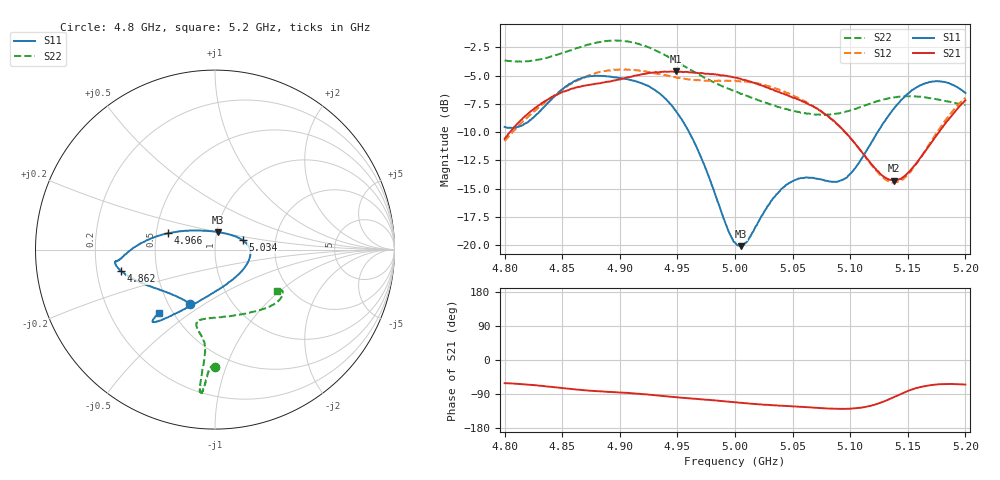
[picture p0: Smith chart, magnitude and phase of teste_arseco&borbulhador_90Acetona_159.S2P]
! Network Analyzer HP8722D
! Hewlett-Packard
! Data name: Linha & Wilkinson
! Saver's name: Rodrigo Anjos
! Comments: Teste da utilização de aquisição
! continua pelo VNA HP8722D
! Time and date: 17/4/2025 12:22
!  Frequency  S11  S21  S12  S22
# HZ  S  MA R 50
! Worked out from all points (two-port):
!   401 points, 4.8 GHz to 5.2 GHz, reference 50 ohm
!   highest |S21| = -4.63 dB at 4.949 GHz (marker M1); lowest = -14.3 dB at 5.138 GHz (marker M2)
!   |S21| within 3 dB of the highest: 4.83 GHz to 5.066 GHz (236.3 MHz wide, 4.78 % of centre); 5.195716 GHz to end of sweep
!   lowest |S11| = -20.1 dB at 5.005 GHz (marker M3), VSWR 1.22, Z = 50.9 + j9.98 ohm
!   |S11| at or under -10 dB: 4.96 GHz to 5.124 GHz (163.6 MHz wide, 3.25 % of centre)
!   |S22| runs from -8.5 to -1.9 dB; largest |S21 - S12| = 0.88
!   S11 on the Smith chart (normalised r, x): 4.8 GHz: 0.64, -0.44; 4.862 GHz: 0.31, -0.10; 4.966 GHz: 0.58, +0.11; 5.034 GHz: 1.35, +0.15; 5.2 GHz: 0.42, -0.38
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4.8e9  0.3334 -114.6  0.2951 -61.2  0.2886 -175.5  0.6562 -90.1
4.819e9  0.3477 -134.6  0.3759 -64.6  0.3641 -174.3  0.6517 -91.8
4.862e9  0.5361 -167.0  0.4987 -77.7  0.5323 -177.5  0.7436 -94.1
4.867e9  0.5485 -168.9  0.5051 -79.1  0.5477 -178.5  0.7567 -94.3
4.9e9  0.5492 -173.4  0.5406 -85.7  0.5984 175.1  0.8021 -95.7
4.934e9  0.4711 -179.6  0.5818 -94.0  0.5726 171.3  0.7155 -96.2
4.949e9  0.3903 173.0  0.587 -97.9  0.5526 171.7  0.6509 -95.8
4.966e9  0.276 160.7  0.5795 -102.5  0.5369 173.4  0.5779 -95.4
4.993e9  0.12 118.9  0.5614 -109.6  0.5347 175.8  0.4953 -98.2
5e9  0.1025 97.1  0.5513 -111.6  0.5348 175.6  0.4784 -99.6
5.005e9  0.09885 79.3  0.5442 -113.0  0.5301 175.6  0.4664 -100.9
5.012e9  0.1067 57.6  0.5311 -114.7  0.5284 175.5  0.4543 -102.3
5.034e9  0.1627 18.9  0.4834 -119.7  0.4944 174.4  0.4146 -104.1
5.049e9  0.1905 3.9  0.4527 -122.0  0.4611 173.7  0.394 -100.1
5.067e9  0.1986 -15.2  0.414 -125.3  0.4149 173.2  0.3792 -90.6
5.086e9  0.1906 -45.5  0.3545 -128.5  0.3522 173.5  0.38 -76.2
5.097e9  0.1987 -68.1  0.3108 -128.8  0.3109 174.4  0.3905 -67.2
5.134e9  0.3782 -117.9  0.1946 -103.3  0.191 -156.1  0.4475 -43.2
5.138e9  0.4026 -120.1  0.193 -97.7  0.1894 -149.8  0.4503 -41.5
5.151e9  0.472 -125.8  0.2107 -80.6  0.2078 -130.2  0.4559 -36.6
5.17e9  0.5281 -130.1  0.2816 -66.3  0.2862 -112.6  0.4468 -32.4
5.2e9  0.4711 -131.7  0.437 -64.9  0.449 -107.0  0.4167 -33.9
